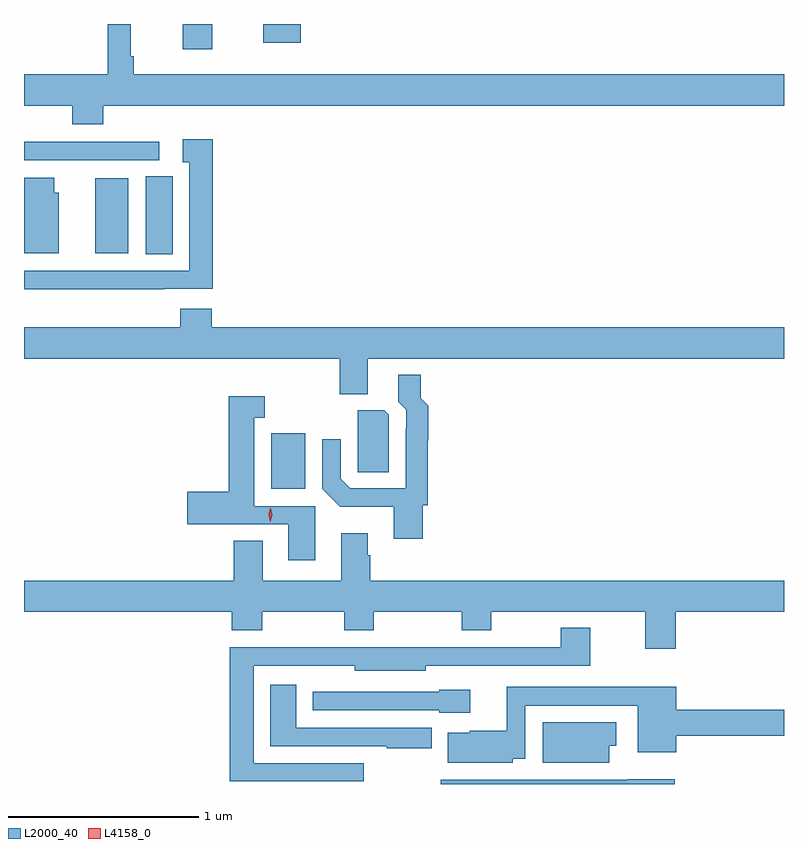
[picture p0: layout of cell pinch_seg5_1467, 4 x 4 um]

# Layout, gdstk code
import gdstk
lib = gdstk.Library(unit=1e-6, precision=1e-09)
def R(c, l, rs):  # rectangles x0, y0, x1, y1
    for r in rs: c.add(gdstk.rectangle(r[:2], r[2:], *l))
def P(c, l, *ps):  # polygons
    for p in ps: c.add(gdstk.Polygon(p, *l))
L2000_40 = (2000, 40)
L4158_0 = (4158, 0)

pinch_seg5_1467 = lib.new_cell('pinch_seg5_1467')
R(pinch_seg5_1467, L2000_40, [(352.718,845.42,352.897,845.71), (352.058,846.652,352.201,847.064), (351.794,846.659,351.967,847.054), (351.418,847.149,352.129,847.245), (352.253,847.731,352.408,847.865)])
P(pinch_seg5_1467, L2000_40, [(351.836,847.436),(355.418,847.436),(355.418,847.6),(351.995,847.6),(351.995,847.696),(351.98,847.696),(351.98,847.865),(351.859,847.865),(351.859,847.6),(351.418,847.6),(351.418,847.436),(351.671,847.436),(351.671,847.337),(351.836,847.337)],
  [(352.874,847.865),(352.758,847.865),(352.758,847.863),(352.677,847.863),(352.677,847.766),(352.874,847.766)],
  [(352.157,846.471),(352.411,846.471),(352.411,847.258),(352.253,847.258),(352.253,847.137),(352.289,847.137),(352.289,846.567),(351.418,846.567),(351.418,846.47),(352.157,846.47)],
  [(351.601,846.978),(351.577,846.978),(351.577,847.057),(351.419,847.057),(351.419,846.982),(351.418,846.982),(351.418,846.659),(351.601,846.659)],
  [(353.227,846.104),(355.418,846.104),(355.418,846.268),(352.406,846.268),(352.406,846.367),(352.241,846.367),(352.241,846.268),(351.418,846.268),(351.418,846.104),(353.08,846.104),(353.08,845.917),(353.227,845.917)],
  [(353.516,845.331),(353.543,845.331),(353.543,845.674),(353.546,845.674),(353.546,845.856),(353.507,845.895),(353.507,846.019),(353.387,846.019),(353.387,845.878),(353.43,845.835),(353.43,845.735),(353.427,845.735),(353.427,845.421),(353.136,845.421),(353.085,845.472),(353.085,845.68),(352.989,845.68),(352.989,845.418),(353.083,845.324),(353.363,845.324),(353.363,845.157),(353.516,845.157)],
  [(352.951,845.328),(352.63,845.328),(352.63,845.792),(352.684,845.792),(352.684,845.905),(352.496,845.905),(352.496,845.402),(352.278,845.402),(352.278,845.231),(352.539,845.231),(352.539,845.232),(352.808,845.232),(352.808,845.043),(352.951,845.043)],
  [(353.337,845.808),(353.313,845.832),(353.174,845.832),(353.174,845.617),(353.175,845.617),(353.175,845.506),(353.337,845.506)],
  [(354.848,844.772),(355.418,844.772),(355.418,844.936),(353.24,844.936),(353.24,845.069),(353.227,845.069),(353.227,845.185),(353.087,845.185),(353.087,844.936),(352.675,844.936),(352.675,845.146),(352.523,845.146),(352.523,844.936),(351.418,844.936),(351.418,844.772),(352.511,844.772),(352.511,844.673),(352.671,844.673),(352.671,844.772),(353.104,844.772),(353.104,844.673),(353.259,844.673),(353.259,844.772),(353.722,844.772),(353.722,844.673),(353.877,844.673),(353.877,844.772),(354.688,844.772),(354.688,844.578),(354.848,844.578)],
  [(353.206,843.975),(352.627,843.975),(352.627,844.488),(352.948,844.488),(352.948,844.487),(353.16,844.487),(353.16,844.46),(353.532,844.46),(353.532,844.488),(354.399,844.488),(354.399,844.687),(354.244,844.687),(354.244,844.586),(353.965,844.586),(353.965,844.584),(353.632,844.584),(353.632,844.586),(352.502,844.586),(352.502,843.879),(353.206,843.879)],
  [(353.563,844.161),(352.852,844.161),(352.852,844.387),(352.715,844.387),(352.715,844.065),(353.327,844.065),(353.327,844.052),(353.563,844.052)],
  [(353.991,843.998),(354.057,843.998),(354.057,844.277),(354.647,844.277),(354.647,844.031),(354.85,844.031),(354.85,844.12),(355.418,844.12),(355.418,844.256),(354.85,844.256),(354.85,844.378),(353.96,844.378),(353.96,844.144),(353.763,844.144),(353.763,844.135),(353.648,844.135),(353.648,843.977),(353.991,843.977)],
  [(353.767,844.36),(353.604,844.36),(353.604,844.35),(352.937,844.35),(352.937,844.254),(353.604,844.254),(353.604,844.239),(353.767,844.239)],
  [(354.499,844.067),(354.535,844.067),(354.535,844.189),(354.149,844.189),(354.149,843.977),(354.499,843.977)],
  [(354.844,843.889),(354.595,843.889),(354.595,843.888),(353.611,843.888),(353.611,843.865),(354.844,843.865)])
P(pinch_seg5_1467, L4158_0, [(352.715,845.246),(352.715,845.246),(352.705,845.281),(352.715,845.316),(352.716,845.316),(352.716,845.316),(352.725,845.281),(352.715,845.246)])

lib.write_gds('pinch_seg5_1467.gds')
